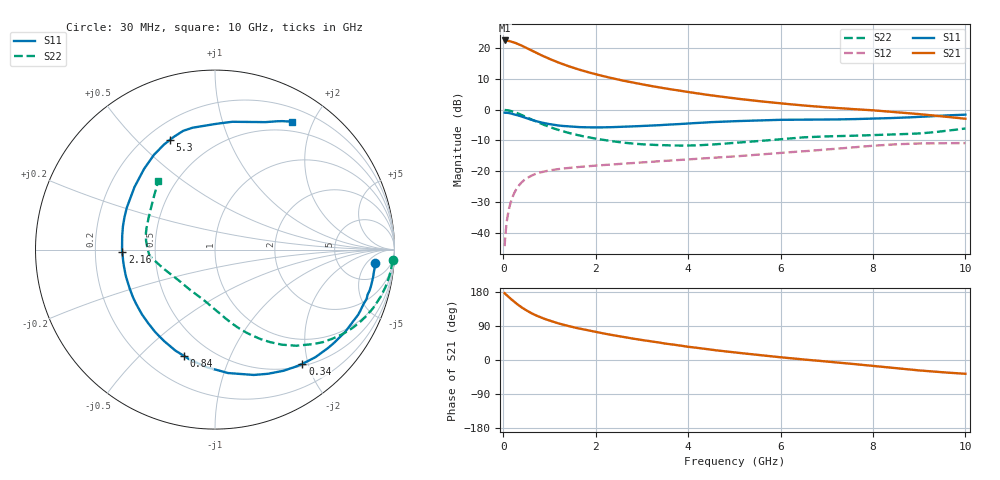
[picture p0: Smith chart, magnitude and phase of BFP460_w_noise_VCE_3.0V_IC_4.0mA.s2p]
! (c) 2016  Infineon Technologies AG, Munich
! Infineon Technologies  Discrete & RF Semiconductors
! BFP460
! VCE =  3.0 V,  IC =  4.0 mA
! Common Emitter S-Parameters:  Jan 2016
# GHz  S  MA  R  50
!  f  S11  S21  S12  S22
! GHz  MAG  ANG  MAG  ANG  MAG  ANG  MAG  ANG
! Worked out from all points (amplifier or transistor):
!   229 points, 30 MHz to 10 GHz, reference 50 ohm
!   highest |S21| = 22.6 dB at 30 MHz (marker M1)
!   |S21| within 3 dB of that: start of sweep to 577.3 MHz
!   unconditionally stable (mu >= 1): 3.271 GHz to 7.859 GHz
!   at 280 MHz: K = 0.14, MSG = 23.8 dB, |S12| = -26.0 dB
!   at 1.78 GHz: K = 0.70, MSG = 15.5 dB, |S12| = -18.5 dB
!   at 10 GHz: K = 0.94, MSG = 4.0 dB, |S12| = -10.9 dB
!   lowest NFmin = 0.75 dB at 450 MHz
!   S11 on the Smith chart (normalised r, x): 30 MHz: 12, -9; 340 MHz: 0.54, -1.90; 840 MHz: 0.36, -0.69; 2.16 GHz: 0.32, -0.01; 5.3 GHz: 0.29, +0.63; 10 GHz: 0.37, +1.70
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0.03  0.8958 -4.8  13.43 176.4  0.006 87.0  0.9912 -3.5
0.09  0.8911 -14.8  13.31 169.5  0.0177 81.6  0.9804 -9.5
0.195  0.8595 -31.4  12.75 158.0  0.0368 72.4  0.9408 -19.9
0.26  0.8345 -41.2  12.27 151.5  0.0473 67.3  0.907 -25.9
0.34  0.8013 -52.6  11.59 144.0  0.0586 61.6  0.8588 -32.7
0.44  0.7564 -65.5  10.7 135.5  0.0701 55.4  0.7963 -40.1
0.54  0.712 -77.1  9.817 128.4  0.079 50.4  0.7351 -46.1
0.7  0.6568 -94.0  8.56 118.1  0.0902 44.0  0.6484 -54.8
0.84  0.617 -106.3  7.624 111.0  0.0967 39.9  0.5848 -60.6
1  0.5835 -119.0  6.738 103.9  0.1027 36.4  0.5253 -66.2
1.2  0.5532 -132.5  5.853 96.4  0.1081 33.2  0.4671 -72.1
1.44  0.5321 -146.4  5.041 88.8  0.1133 30.6  0.4154 -77.8
1.7  0.5195 -159.4  4.369 81.5  0.1179 28.8  0.3735 -83.2
2.16  0.5167 -178.4  3.532 70.4  0.1256 26.8  0.3234 -92.1
2.78  0.5348 160.8  2.791 57.0  0.1354 25.2  0.2825 -105.2
3.4  0.5613 144.5  2.294 45.5  0.1453 24.1  0.2654 -118.9
4  0.5983 131.4  1.943 34.9  0.1551 23.1  0.261 -132.9
5.1  0.654 114.6  1.502 18.7  0.1756 21.9  0.2923 -155.1
5.3  0.661 112.2  1.443 16.2  0.1805 21.5  0.2997 -157.9
6.8  0.6907 97.3  1.124 -1.8  0.219 17.0  0.3628 -174.5
8.4  0.7318 76.3  0.926 -20.6  0.2708 7.2  0.396 166.3
10  0.8311 59.1  0.713 -36.4  0.2865 -4.4  0.4954 129.7
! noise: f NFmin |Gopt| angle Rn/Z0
0.45  0.75  0.4  17  0.18
0.9  0.77  0.41  35  0.18
1.9  1.06  0.21  94  0.13
3.5  1.3  0.35  -157  0.09
